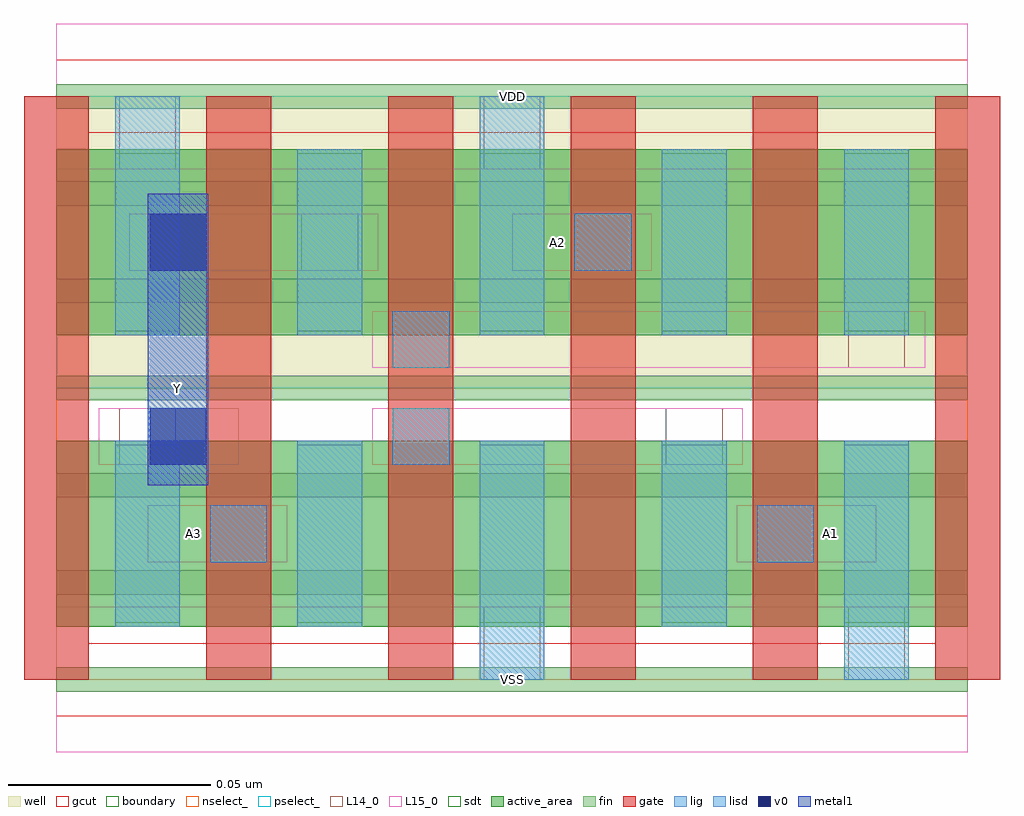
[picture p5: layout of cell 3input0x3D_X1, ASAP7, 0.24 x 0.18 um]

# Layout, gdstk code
import gdstk
lib = gdstk.Library(unit=1e-6, precision=2.5e-10)
def R(c, l, rs):  # rectangles x0, y0, x1, y1
    for r in rs: c.add(gdstk.rectangle(r[:2], r[2:], *l))
def A(c, l, x, y, w, h, nx, ny, dx, dy):  # array of equal rectangles
    R(c, l, [(x+i*dx, y+j*dy, x+i*dx+w, y+j*dy+h) for i in range(nx) for j in range(ny)])
def P(c, l, *ps):  # polygons
    for p in ps: c.add(gdstk.Polygon(p, *l))
well = (1, 0)
fin = (2, 0)
gate = (7, 0)
gcut = (10, 0)
active_area = (11, 0)
nselect_ = (12, 0)
pselect_ = (13, 0)
L14_0 = (14, 0)
L15_0 = (15, 0)
lig = (16, 0)
lisd = (17, 0)
v0 = (18, 0)
metal1 = (19, 0)
sdt = (88, 0)
boundary = (100, 0)

c_3input0x3d_x1 = lib.new_cell('3input0x3D_X1')
R(c_3input0x3d_x1, well, [(0,0.072,0.225,0.144)])
A(c_3input0x3d_x1, fin, 0, -0.003, 0.225, 0.006, 1, 7, 0, 0.024)
A(c_3input0x3d_x1, gate, -0.008, 0, 0.016, 0.144, 6, 1, 0.045, 0)
P(c_3input0x3d_x1, gcut, [(0,-0.009),(0,0),(-0.008,0),(-0.008,0.135),(0.008,0.135),(0.008,0.009),(0.217,0.009),(0.217,0.135),(-0.008,0.135),(-0.008,0.144),(0,0.144),(0,0.153),(0.225,0.153),(0.225,0.144),(0.233,0.144),(0.233,0),(0.225,0),(0.225,-0.009)])
R(c_3input0x3d_x1, active_area, [(0,0.013,0.225,0.059), (0,0.085,0.225,0.131)])
R(c_3input0x3d_x1, nselect_, [(0,0,0.225,0.072)])
R(c_3input0x3d_x1, pselect_, [(0,0.072,0.225,0.144)])
A(c_3input0x3d_x1, L14_0, 0.0155, 0.053, 0.014, 0.014, 3, 1, 0.0675, 0)
R(c_3input0x3d_x1, L14_0, [(0.1055,0,0.1195,0.018), (0.1955,0,0.2095,0.018), (0.038,0.029,0.052,0.043), (0.173,0.029,0.187,0.043), (0.083,0.077,0.097,0.091), (0.1955,0.077,0.2095,0.091), (0.0605,0.101,0.0745,0.115), (0.128,0.101,0.142,0.115), (0.0155,0.126,0.0295,0.144), (0.1055,0.126,0.1195,0.144)])
R(c_3input0x3d_x1, L15_0, [(0,-0.018,0.225,0.018), (0.0225,0.029,0.057,0.043), (0.168,0.029,0.2025,0.043), (0.0105,0.053,0.045,0.067), (0.078,0.053,0.1695,0.067), (0.078,0.077,0.2145,0.091), (0.018,0.101,0.0795,0.115), (0.1125,0.101,0.147,0.115), (0,0.126,0.225,0.162)])
R(c_3input0x3d_x1, lig, [(0.038,0.029,0.052,0.043), (0.173,0.029,0.187,0.043), (0.083,0.053,0.097,0.067), (0.083,0.077,0.097,0.091), (0.128,0.101,0.142,0.115)])
R(c_3input0x3d_x1, lisd, [(0.1045,0,0.1205,0.059), (0.1945,0,0.2105,0.059), (0.0145,0.013,0.0305,0.059), (0.0595,0.013,0.0755,0.059), (0.1495,0.013,0.1655,0.059), (0.0145,0.085,0.0305,0.144), (0.0595,0.085,0.0755,0.131), (0.1045,0.085,0.1205,0.144), (0.1495,0.085,0.1655,0.131), (0.1945,0.085,0.2105,0.131)])
R(c_3input0x3d_x1, v0, [(0.023,0.053,0.037,0.067), (0.023,0.101,0.037,0.115)])
R(c_3input0x3d_x1, metal1, [(0.0225,0.048,0.0375,0.12)])
A(c_3input0x3d_x1, sdt, 0.0145, 0.014, 0.016, 0.044, 5, 2, 0.045, 0.072)
R(c_3input0x3d_x1, boundary, [(0,0,0.225,0.144)])
c_3input0x3d_x1.add(gdstk.Label('A1', (0.1913,0.036), layer=15, texttype=251))
c_3input0x3d_x1.add(gdstk.Label('VSS', (0.1125,0), layer=15, texttype=251))
c_3input0x3d_x1.add(gdstk.Label('VDD', (0.1125,0.144), layer=15, texttype=251))
c_3input0x3d_x1.add(gdstk.Label('A3', (0.0338,0.036), layer=15, texttype=251))
c_3input0x3d_x1.add(gdstk.Label('VSS', (0.1125,0), layer=15, texttype=251))
c_3input0x3d_x1.add(gdstk.Label('VDD', (0.1125,0.144), layer=15, texttype=251))
c_3input0x3d_x1.add(gdstk.Label('A2', (0.1238,0.108), layer=15, texttype=251))
c_3input0x3d_x1.add(gdstk.Label('VSS', (0.1125,0), layer=15, texttype=251))
c_3input0x3d_x1.add(gdstk.Label('VDD', (0.1125,0.144), layer=15, texttype=251))
c_3input0x3d_x1.add(gdstk.Label('VSS', (0.1125,0), layer=15, texttype=251))
c_3input0x3d_x1.add(gdstk.Label('VDD', (0.1125,0.144), layer=15, texttype=251))
c_3input0x3d_x1.add(gdstk.Label('VSS', (0.1125,0), layer=3, texttype=251))
c_3input0x3d_x1.add(gdstk.Label('VSS', (0.1125,0), layer=3, texttype=251))
c_3input0x3d_x1.add(gdstk.Label('VSS', (0.1125,0), layer=3, texttype=251))
c_3input0x3d_x1.add(gdstk.Label('VSS', (0.1125,0), layer=3, texttype=251))
c_3input0x3d_x1.add(gdstk.Label('VDD', (0.1125,0.144), layer=1, texttype=251))
c_3input0x3d_x1.add(gdstk.Label('VDD', (0.1125,0.144), layer=1, texttype=251))
c_3input0x3d_x1.add(gdstk.Label('VDD', (0.1125,0.144), layer=1, texttype=251))
c_3input0x3d_x1.add(gdstk.Label('VDD', (0.1125,0.144), layer=1, texttype=251))
c_3input0x3d_x1.add(gdstk.Label('Y', (0.03,0.072), layer=19, texttype=251))

lib.write_gds('3input0x3D_X1.gds')
